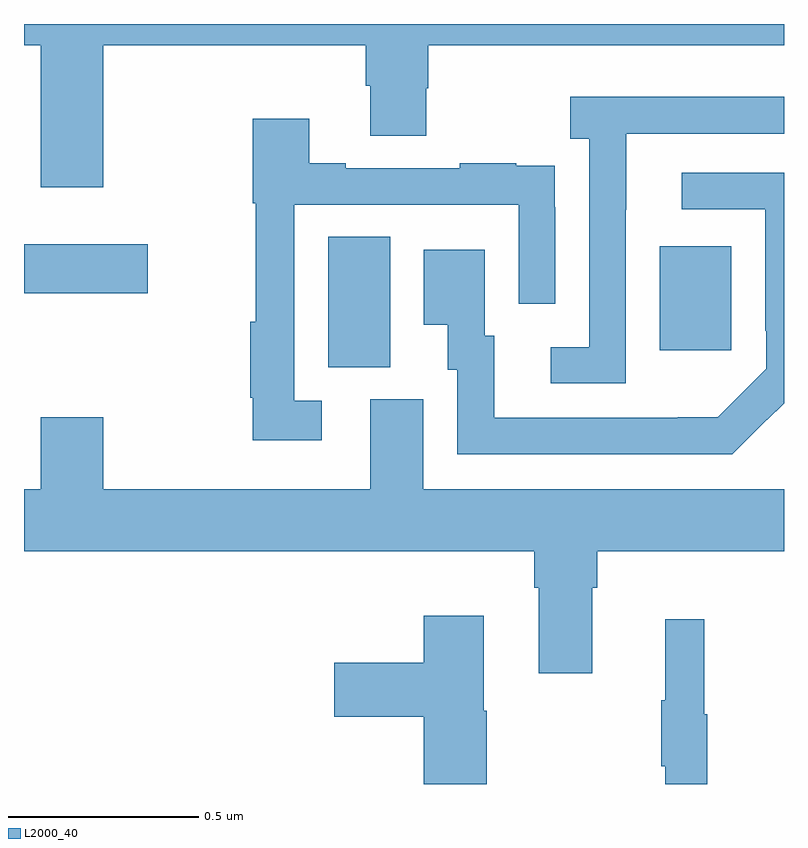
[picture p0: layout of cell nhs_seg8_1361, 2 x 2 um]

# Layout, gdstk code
import gdstk
lib = gdstk.Library(unit=1e-6, precision=1e-09)
def R(c, l, rs):  # rectangles x0, y0, x1, y1
    for r in rs: c.add(gdstk.rectangle(r[:2], r[2:], *l))
def P(c, l, *ps):  # polygons
    for p in ps: c.add(gdstk.Polygon(p, *l))
L2000_40 = (2000, 40)

nhs_seg8_1361 = lib.new_cell('nhs_seg8_1361')
R(nhs_seg8_1361, L2000_40, [(129.8,1104.997,129.964,1105.34), (130.673,1105.041,130.861,1105.315), (129,1105.192,129.325,1105.321)])
P(nhs_seg8_1361, L2000_40, [(129.208,1105.844),(129.899,1105.844),(129.899,1105.738),(129.911,1105.738),(129.911,1105.606),(130.059,1105.606),(130.059,1105.731),(130.064,1105.731),(130.064,1105.844),(131,1105.844),(131,1105.9),(129,1105.9),(129,1105.844),(129.044,1105.844),(129.044,1105.47),(129.208,1105.47)],
  [(130.584,1105.411),(130.585,1105.411),(130.585,1105.611),(131,1105.611),(131,1105.708),(130.437,1105.708),(130.437,1105.598),(130.488,1105.598),(130.488,1105.05),(130.386,1105.05),(130.386,1104.954),(130.584,1104.954)],
  [(129.784,1104.909),(129.711,1104.909),(129.711,1105.425),(130.302,1105.425),(130.302,1105.164),(130.398,1105.164),(130.398,1105.418),(130.397,1105.418),(130.397,1105.527),(130.295,1105.527),(130.295,1105.534),(130.147,1105.534),(130.147,1105.521),(129.847,1105.521),(129.847,1105.534),(129.751,1105.534),(129.751,1105.651),(129.602,1105.651),(129.602,1105.428),(129.61,1105.428),(129.61,1105.116),(129.595,1105.116),(129.595,1104.916),(129.602,1104.916),(129.602,1104.804),(129.784,1104.804)],
  [(130.955,1104.859),(130.956,1104.858),(131,1104.902),(131,1105.509),(130.731,1105.509),(130.731,1105.413),(130.95,1105.413),(130.95,1105.093),(130.953,1105.093),(130.953,1104.993),(130.825,1104.865),(130.721,1104.865),(130.721,1104.864),(130.237,1104.864),(130.237,1105.08),(130.213,1105.08),(130.213,1105.306),(130.052,1105.306),(130.052,1105.109),(130.115,1105.109),(130.115,1104.99),(130.14,1104.99),(130.14,1104.768),(130.864,1104.768)],
  [(130.495,1104.416),(130.508,1104.416),(130.508,1104.512),(131,1104.512),(131,1104.676),(130.051,1104.676),(130.051,1104.912),(129.911,1104.912),(129.911,1104.676),(129.208,1104.676),(129.208,1104.865),(129.044,1104.865),(129.044,1104.676),(129,1104.676),(129,1104.512),(130.343,1104.512),(130.343,1104.416),(130.355,1104.416),(130.355,1104.192),(130.495,1104.192)],
  [(130.218,1104.093),(130.21,1104.093),(130.21,1104.343),(130.052,1104.343),(130.052,1104.219),(129.816,1104.219),(129.816,1104.077),(130.052,1104.077),(130.052,1103.9),(130.218,1103.9)],
  [(130.798,1104.084),(130.79,1104.084),(130.79,1104.334),(130.688,1104.334),(130.688,1104.121),(130.677,1104.121),(130.677,1103.947),(130.688,1103.947),(130.688,1103.9),(130.798,1103.9)])

lib.write_gds('nhs_seg8_1361.gds')
